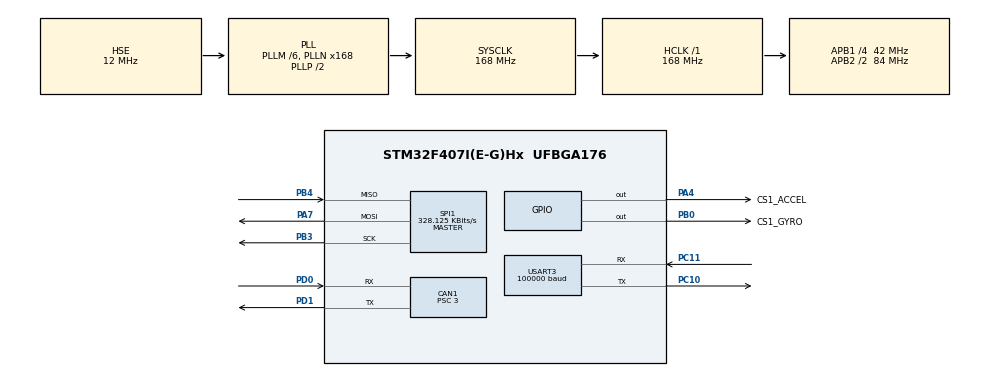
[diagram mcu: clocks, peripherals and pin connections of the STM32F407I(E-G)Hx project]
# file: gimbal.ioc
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CAN1.BS1=CAN_BS1_10TQ
CAN1.BS2=CAN_BS2_3TQ
CAN1.CalculateBaudRate=1000000
CAN1.CalculateTimeBit=1000
CAN1.CalculateTimeQuantum=71.42857142857143
CAN1.Prescaler=3
Dma.Request0=USART3_RX
Dma.USART3_RX.0.Direction=DMA_PERIPH_TO_MEMORY
Dma.USART3_RX.0.FIFOMode=DMA_FIFOMODE_DISABLE
Dma.USART3_RX.0.Instance=DMA1_Stream1
Dma.USART3_RX.0.MemDataAlignment=DMA_MDATAALIGN_BYTE
Dma.USART3_RX.0.MemInc=DMA_MINC_ENABLE
Dma.USART3_RX.0.Mode=DMA_NORMAL
Dma.USART3_RX.0.PeriphDataAlignment=DMA_PDATAALIGN_BYTE
Dma.USART3_RX.0.PeriphInc=DMA_PINC_DISABLE
Dma.USART3_RX.0.Priority=DMA_PRIORITY_LOW
FREERTOS.Tasks01=defaultTask,24,128,StartDefaultTask,Default,NULL,Dynamic,NULL,NULL
IWDG.Prescaler=IWDG_PRESCALER_16
IWDG.Reload=3000 - 1
Mcu.Family=STM32F4
Mcu.Name=STM32F407I(E-G)Hx
Mcu.Package=UFBGA176
NVIC.CAN1_RX0_IRQn=true\:5\:0\:false\:false\:true\:true\:true\:true\:true
NVIC.DMA1_Stream1_IRQn=true\:5\:0\:false\:false\:true\:true\:false\:true\:true
NVIC.PriorityGroup=NVIC_PRIORITYGROUP_4
NVIC.TIM6_DAC_IRQn=true\:15\:0\:false\:false\:true\:false\:false\:true\:true
NVIC.TimeBase=TIM6_DAC_IRQn
NVIC.TimeBaseIP=TIM6
PA13.Mode=Serial_Wire
PA13.Signal=SYS_JTMS-SWDIO
PA14.Mode=Serial_Wire
PA14.Signal=SYS_JTCK-SWCLK
PA4.GPIO_Label=CS1_ACCEL
PA4.GPIO_PuPd=GPIO_PULLUP
PA4.GPIO_Speed=GPIO_SPEED_FREQ_HIGH
PA4.PinState=GPIO_PIN_SET
PA4.Signal=GPIO_Output
PA7.Mode=Full_Duplex_Master
PA7.Signal=SPI1_MOSI
PB0.GPIO_Label=CS1_GYRO
PB0.GPIO_PuPd=GPIO_PULLUP
PB0.GPIO_Speed=GPIO_SPEED_FREQ_HIGH
PB0.PinState=GPIO_PIN_SET
PB0.Signal=GPIO_Output
PB3.Mode=Full_Duplex_Master
PB3.Signal=SPI1_SCK
PB4.Mode=Full_Duplex_Master
PB4.Signal=SPI1_MISO
PC10.Mode=Asynchronous
PC10.Signal=USART3_TX
PC11.Mode=Asynchronous
PC11.Signal=USART3_RX
PD0.Mode=CAN_Activate
PD0.Signal=CAN1_RX
PD1.Mode=CAN_Activate
PD1.Signal=CAN1_TX
PH0-OSC_IN.Mode=HSE-External-Oscillator
PH0-OSC_IN.Signal=RCC_OSC_IN
PH1-OSC_OUT.Mode=HSE-External-Oscillator
PH1-OSC_OUT.Signal=RCC_OSC_OUT
ProjectManager.HeapSize=0x200
ProjectManager.StackSize=0x400
ProjectManager.TargetToolchain=CMake
RCC.48MHZClocksFreq_Value=84000000
RCC.AHBFreq_Value=168000000
RCC.APB1CLKDivider=RCC_HCLK_DIV4
RCC.APB1Freq_Value=42000000
RCC.APB1TimFreq_Value=84000000
RCC.APB2CLKDivider=RCC_HCLK_DIV2
RCC.APB2Freq_Value=84000000
RCC.APB2TimFreq_Value=168000000
RCC.CortexFreq_Value=168000000
RCC.HCLKFreq_Value=168000000
RCC.HSE_VALUE=12000000
RCC.HSI_VALUE=16000000
RCC.LSE_VALUE=32768
RCC.PLLM=6
RCC.PLLN=168
RCC.PLLSourceVirtual=RCC_PLLSOURCE_HSE
RCC.SYSCLKFreq_VALUE=168000000
RCC.SYSCLKSource=RCC_SYSCLKSOURCE_PLLCLK
RCC.VCOOutputFreq_Value=336000000
SPI1.BaudRatePrescaler=SPI_BAUDRATEPRESCALER_256
SPI1.CLKPhase=SPI_PHASE_2EDGE
SPI1.CLKPolarity=SPI_POLARITY_HIGH
SPI1.CalculateBaudRate=328.125 KBits/s
SPI1.Direction=SPI_DIRECTION_2LINES
SPI1.Mode=SPI_MODE_MASTER
SPI1.VirtualType=VM_MASTER
USART3.BaudRate=100000
USART3.Parity=PARITY_EVEN
USART3.VirtualMode=VM_ASYNC
USART3.WordLength=WORDLENGTH_9B
VP_FREERTOS_VS_CMSIS_V2.Mode=CMSIS_V2
VP_IWDG_VS_IWDG.Mode=IWDG_Activate
VP_SYS_VS_tim6.Mode=TIM6
board=custom

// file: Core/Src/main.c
/* USER CODE BEGIN Header */
/**
  ******************************************************************************
  * @file           : main.c
  * @brief          : Main program body
  ******************************************************************************
  * @attention
  *
  * Copyright (c) 2025 STMicroelectronics.
  * All rights reserved.
  *
  * This software is licensed under terms that can be found in the LICENSE file
  * in the root directory of this software component.
  * If no LICENSE file comes with this software, it is provided AS-IS.
  *
  ******************************************************************************
  */
/* USER CODE END Header */
#include "main.h"
#include "cmsis_os.h"
#include "can.h"
#include "dma.h"
#include "iwdg.h"
#include "spi.h"
#include "usart.h"
#include "gpio.h"

/* USER CODE BEGIN Includes */
#include "bmi088.h"
#include "init.h"
/* USER CODE END Includes */

/* USER CODE BEGIN PV */
// 有关can通信
CAN_RxHeaderTypeDef rx_header;
CAN_TxHeaderTypeDef tx_header = {
    .StdId = 0x1FE,
    .ExtId = 0,
    .IDE = CAN_ID_STD,
    .RTR = CAN_RTR_DATA,
    .DLC = 8,
    .TransmitGlobalTime = DISABLE,
};
CAN_FilterTypeDef filter_config = {
    .FilterIdHigh = 0x0000,
    .FilterIdLow = 0x0000,
    .FilterMaskIdHigh = 0x0000,
    .FilterMaskIdLow = 0x0000,
    .FilterFIFOAssignment = CAN_FilterFIFO0,
    .FilterBank = 0,
    .FilterMode = CAN_FILTERMODE_IDMASK,
    .FilterScale = CAN_FILTERSCALE_32BIT,
    .FilterActivation = ENABLE
};
uint32_t can_tx_mailbox;

/* USER CODE END PV */

void SystemClock_Config(void);
void MX_FREERTOS_Init(void);

int main(void)
{

  /* MCU Configuration--------------------------------------------------------*/

  /* Reset of all peripherals, Initializes the Flash interface and the Systick. */
  HAL_Init();

  /* Configure the system clock */
  SystemClock_Config();

  /* Initialize all configured peripherals */
  MX_GPIO_Init();
  MX_DMA_Init();
  MX_CAN1_Init();
  MX_SPI1_Init();
  MX_USART3_UART_Init();
  MX_IWDG_Init();
  /* USER CODE BEGIN 2 */
  HAL_CAN_ConfigFilter(&hcan1, &filter_config);
  HAL_CAN_Start(&hcan1);
  HAL_CAN_ActivateNotification(&hcan1, CAN_IT_RX_FIFO0_MSG_PENDING);

  bmi088_init();
  rc_init();
  /* USER CODE END 2 */

  /* Init scheduler */
  osKernelInitialize();  /* Call init function for freertos objects (in cmsis_os2.c) */
  MX_FREERTOS_Init();

  /* Start scheduler */
  osKernelStart();

  /* We should never get here as control is now taken by the scheduler */

  /* Infinite loop */
  while (1)
  {

  }
}

void SystemClock_Config(void)
{
  RCC_OscInitTypeDef RCC_OscInitStruct = {0};
  RCC_ClkInitTypeDef RCC_ClkInitStruct = {0};

  /** Configure the main internal regulator output voltage
  */
  __HAL_RCC_PWR_CLK_ENABLE();
  __HAL_PWR_VOLTAGESCALING_CONFIG(PWR_REGULATOR_VOLTAGE_SCALE1);

  /** Initializes the RCC Oscillators according to the specified parameters
  * in the RCC_OscInitTypeDef structure.
  */
  RCC_OscInitStruct.OscillatorType = RCC_OSCILLATORTYPE_LSI|RCC_OSCILLATORTYPE_HSE;
  RCC_OscInitStruct.HSEState = RCC_HSE_ON;
  RCC_OscInitStruct.LSIState = RCC_LSI_ON;
  RCC_OscInitStruct.PLL.PLLState = RCC_PLL_ON;
  RCC_OscInitStruct.PLL.PLLSource = RCC_PLLSOURCE_HSE;
  RCC_OscInitStruct.PLL.PLLM = 6;
  RCC_OscInitStruct.PLL.PLLN = 168;
  RCC_OscInitStruct.PLL.PLLP = RCC_PLLP_DIV2;
  RCC_OscInitStruct.PLL.PLLQ = 4;
  if (HAL_RCC_OscConfig(&RCC_OscInitStruct) != HAL_OK)
  {
    Error_Handler();
  }

  /** Initializes the CPU, AHB and APB buses clocks
  */
  RCC_ClkInitStruct.ClockType = RCC_CLOCKTYPE_HCLK|RCC_CLOCKTYPE_SYSCLK
                              |RCC_CLOCKTYPE_PCLK1|RCC_CLOCKTYPE_PCLK2;
  RCC_ClkInitStruct.SYSCLKSource = RCC_SYSCLKSOURCE_PLLCLK;
  RCC_ClkInitStruct.AHBCLKDivider = RCC_SYSCLK_DIV1;
  RCC_ClkInitStruct.APB1CLKDivider = RCC_HCLK_DIV4;
  RCC_ClkInitStruct.APB2CLKDivider = RCC_HCLK_DIV2;

  if (HAL_RCC_ClockConfig(&RCC_ClkInitStruct, FLASH_LATENCY_5) != HAL_OK)
  {
    Error_Handler();
  }
}

void HAL_TIM_PeriodElapsedCallback(TIM_HandleTypeDef *htim)
{
  if (htim->Instance == TIM6)
  {
    HAL_IncTick();
  }
}

void Error_Handler(void)
{
  __disable_irq();
  while (1)
  {
  }
}

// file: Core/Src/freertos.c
/* USER CODE BEGIN Header */
/**
  ******************************************************************************
  * File Name          : freertos.c
  * Description        : Code for freertos applications
  ******************************************************************************
  * @attention
  *
  * Copyright (c) 2025 STMicroelectronics.
  * All rights reserved.
  *
  * This software is licensed under terms that can be found in the LICENSE file
  * in the root directory of this software component.
  * If no LICENSE file comes with this software, it is provided AS-IS.
  *
  ******************************************************************************
  */
/* USER CODE END Header */

#include "FreeRTOS.h"
#include "task.h"
#include "main.h"
#include "cmsis_os.h"

/* USER CODE BEGIN Includes */
#include "user_task.h"
/* USER CODE END Includes */

/* Definitions for defaultTask */
osThreadId_t defaultTaskHandle;
const osThreadAttr_t defaultTask_attributes = {
  .name = "defaultTask",
  .stack_size = 128 * 4,
  .priority = (osPriority_t) osPriorityNormal,
};

void StartDefaultTask(void *argument);

void MX_FREERTOS_Init(void); /* (MISRA C 2004 rule 8.1) */

void MX_FREERTOS_Init(void) {
  /* USER CODE BEGIN Init */
  user_task_init();
  /* USER CODE END Init */

  /* Create the thread(s) */
  /* creation of defaultTask */
  defaultTaskHandle = osThreadNew(StartDefaultTask, NULL, &defaultTask_attributes);

}

void StartDefaultTask(void *argument)
{
  for(;;)
  {
    osDelay(1);
  }
}
